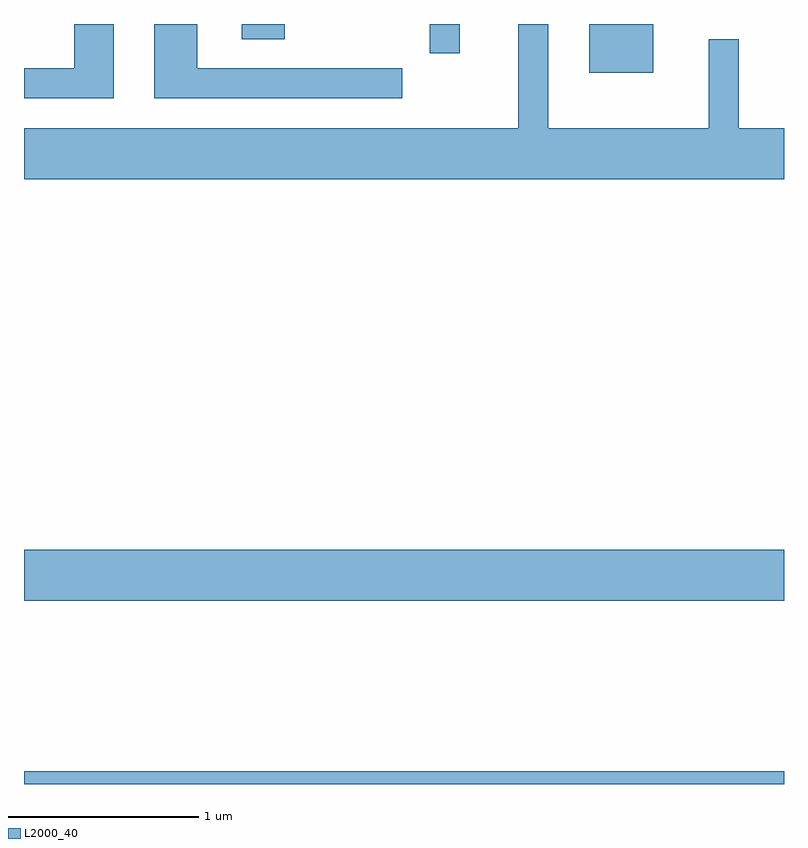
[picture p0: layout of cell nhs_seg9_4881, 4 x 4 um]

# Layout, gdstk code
import gdstk
lib = gdstk.Library(unit=1e-6, precision=1e-09)
def R(c, l, rs):  # rectangles x0, y0, x1, y1
    for r in rs: c.add(gdstk.rectangle(r[:2], r[2:], *l))
def P(c, l, *ps):  # polygons
    for p in ps: c.add(gdstk.Polygon(p, *l))
L2000_40 = (2000, 40)

nhs_seg9_4881 = lib.new_cell('nhs_seg9_4881')
R(nhs_seg9_4881, L2000_40, [(329.611,1966.432,333.611,1966.499), (329.611,1967.396,333.611,1967.664), (332.586,1970.176,332.924,1970.432), (330.756,1970.351,330.984,1970.432)])
P(nhs_seg9_4881, L2000_40, [(333.611,1969.884),(333.374,1969.884),(333.374,1970.353),(333.216,1970.353),(333.216,1969.884),(332.369,1969.884),(332.369,1970.432),(332.211,1970.432),(332.211,1969.884),(329.611,1969.884),(329.611,1969.616),(333.611,1969.616)],
  [(330.084,1970.432),(329.876,1970.432),(329.876,1970.199),(329.611,1970.199),(329.611,1970.041),(330.084,1970.041)],
  [(331.603,1970.199),(330.524,1970.199),(330.524,1970.432),(330.296,1970.432),(330.296,1970.041),(331.603,1970.041)],
  [(331.904,1970.432),(331.136,1970.432),(331.136,1970.431),(331.746,1970.431),(331.746,1970.278),(331.904,1970.278)])

lib.write_gds('nhs_seg9_4881.gds')
